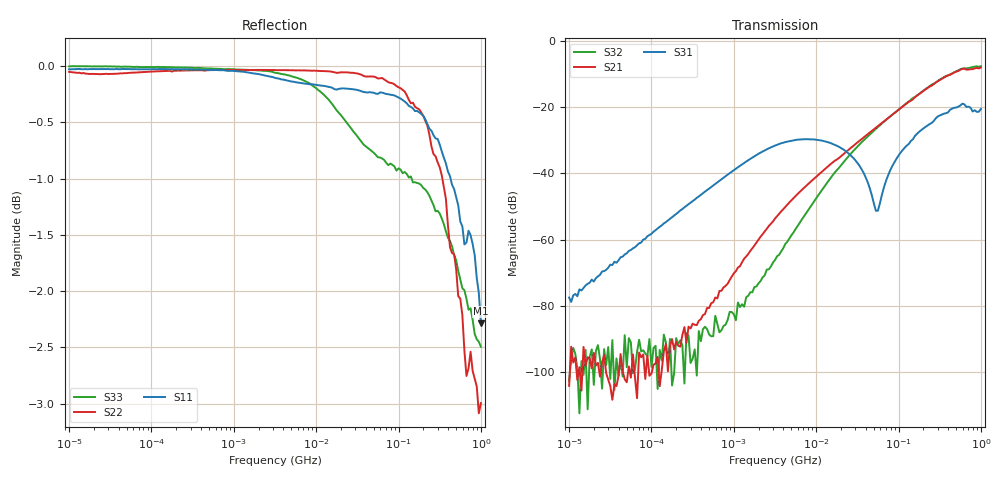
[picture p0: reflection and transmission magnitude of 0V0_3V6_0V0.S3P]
!Keysight Technologies,E5080A,MY55100144,A.11.70.03
!Date: Monday, November 13, 2017 17:24:58
!Correction: S11(Full 3 Port(1,2,3))
!S12(Full 3 Port(1,2,3))
!S13(Full 3 Port(1,2,3))
!S21(Full 3 Port(1,2,3))
!S22(Full 3 Port(1,2,3))
!S23(Full 3 Port(1,2,3))
!S31(Full 3 Port(1,2,3))
!S32(Full 3 Port(1,2,3))
!S33(Full 3 Port(1,2,3))
!S3P File: Measurements: <S11,S12,S13>,
!<S21,S22,S23>,
!<S31,S32,S33>:Log Frequency Sweep
# Hz S  RI  R 50
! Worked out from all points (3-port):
!   201 points, 10 kHz to 1 GHz, reference 50 ohm
!   strongest paths, dB at 10 kHz, 177.8 kHz, 3.162 MHz, 56.23 MHz, 1 GHz:
!     S31: -77.5, -53.2, -31.6, -51.3, -20.5
!     S21: -104.2, -90.1, -53.7, -25.7, -8.0
!     S32: -102.8, -104.1, -66.2, -26.0, -7.6
!   lowest |S11| = -2.3 dB at 1 GHz (marker M1), VSWR 7.64, Z = 382 + j0.237 ohm
!   |S11| at or under -10 dB: nowhere
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10000  0.9968 -0.00584  -1.54e-06 -3.98e-06  -3.75e-06 0.000131
       2.6e-06 -5.58e-06  0.4709 -0.8756  1.25e-05 -6.38e-06
       5.53e-06 0.000133  3.99e-06 6.08e-06  0.9998 -0.00237
50118.72  0.9966 -0.0296  -1.33e-05 -9.34e-06  -9.98e-07 0.000619
          -1.41e-06 -6.81e-06  -0.7912 -0.5999  2.04e-06 -5.23e-06
          2.69e-05 0.000618  -2.04e-06 1.16e-05  0.9995 -0.00571
530884.4  0.9485 -0.3041  -6.57e-05 6.97e-05  0.00132 0.00606
          -8.37e-05 6.94e-05  -0.9941 -0.0613  -1.46e-05 4.13e-05
          0.00136 0.00607  1.7e-06 3.44e-05  0.9964 -0.0513
3162278  0.0658 -0.9859  -0.00127 0.00164  0.0207 0.0162
         -0.00127 0.00164  -0.9961 0.00458  -0.000398 0.00027
         0.0208 0.0161  -0.000411 0.000269  0.9502 -0.2893
2.113489e7  -0.9469 -0.2428  -0.000897 0.0194  0.0185 -0.014
            -0.000831 0.0193  -0.9889 0.098  -0.00841 0.0117
            0.0185 -0.014  -0.00841 0.0117  -0.0182 -0.9485
5.308844e7  -0.9712 0.0465  0.00806 0.0483  0.00273 -0.000319
            0.00802 0.0483  -0.958 0.2451  -0.00613 0.0467
            0.0027 -0.000314  -0.00615 0.0467  -0.7374 -0.5386
1.059254e8  -0.9321 0.259  0.0379 0.0892  0.00796 0.019
            0.0379 0.0893  -0.8605 0.4642  0.0233 0.0944
            0.00794 0.019  0.0232 0.0944  -0.895 -0.0909
3.758374e8  -0.3686 0.8269  0.2899 0.0331  0.0809 -0.006
            0.2901 0.033  0.0975 0.8677  0.2897 0.0577
            0.081 -0.00596  0.2894 0.0577  -0.4871 0.69
7.079458e8  0.4641 0.7061  0.1987 -0.3127  0.0119 -0.1013
            0.1986 -0.3129  0.6982 0.2265  0.2459 -0.303
            0.0119 -0.1013  0.2462 -0.3027  0.2565 0.736
1e9  0.7685 0.000127  -0.1003 -0.3849  -0.0567 -0.0754
     -0.1007 -0.3849  0.5909 -0.3905  -0.0459 -0.4147
     -0.0568 -0.0753  -0.0456 -0.4147  0.6826 0.3117
